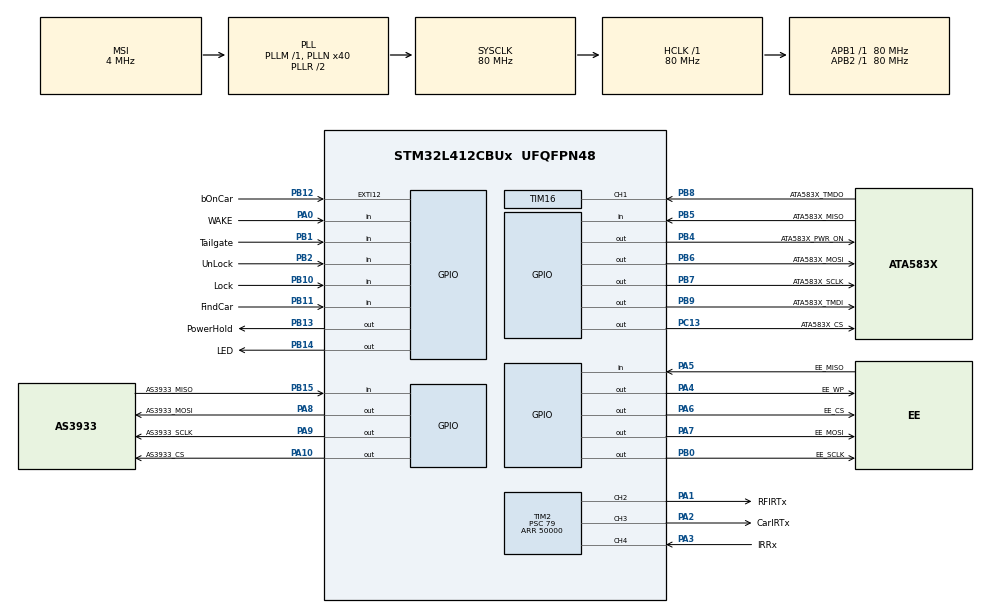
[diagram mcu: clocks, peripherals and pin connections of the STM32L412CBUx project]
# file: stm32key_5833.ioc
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Mcu.Family=STM32L4
Mcu.Name=STM32L412CBUx
Mcu.Package=UFQFPN48
NVIC.PriorityGroup=NVIC_PRIORITYGROUP_4
PA0.GPIO_Label=WAKE
PA0.Signal=GPIO_Input
PA1.GPIO_Label=RFIRTx
PA1.Signal=S_TIM2_CH2
PA10.GPIO_Label=AS3933_CS
PA10.Signal=GPIO_Output
PA13\ (JTMS/SWDIO).Mode=Serial_Wire
PA13\ (JTMS/SWDIO).Signal=SYS_JTMS-SWDIO
PA14\ (JTCK/SWCLK).Mode=Serial_Wire
PA14\ (JTCK/SWCLK).Signal=SYS_JTCK-SWCLK
PA2.GPIO_Label=CarIRTx
PA2.Signal=S_TIM2_CH3
PA3.GPIO_Label=IRRx
PA3.Signal=S_TIM2_CH4
PA4.GPIO_Label=EE_WP
PA4.PinState=GPIO_PIN_SET
PA4.Signal=GPIO_Output
PA5.GPIO_Label=EE_MISO
PA5.Signal=GPIO_Input
PA6.GPIO_Label=EE_CS
PA6.Signal=GPIO_Output
PA7.GPIO_Label=EE_MOSI
PA7.GPIO_Speed=GPIO_SPEED_FREQ_HIGH
PA7.Signal=GPIO_Output
PA8.GPIO_Label=AS3933_MOSI
PA8.GPIO_Speed=GPIO_SPEED_FREQ_HIGH
PA8.PinState=GPIO_PIN_RESET
PA8.Signal=GPIO_Output
PA9.GPIO_Label=AS3933_SCLK
PA9.GPIO_Speed=GPIO_SPEED_FREQ_HIGH
PA9.Signal=GPIO_Output
PB0.GPIO_Label=EE_SCLK
PB0.GPIO_Speed=GPIO_SPEED_FREQ_HIGH
PB0.Signal=GPIO_Output
PB1.GPIO_Label=Tailgate
PB1.Signal=GPIO_Input
PB10.GPIO_Label=Lock
PB10.Signal=GPIO_Input
PB11.GPIO_Label=FindCar
PB11.Signal=GPIO_Input
PB12.GPIO_Label=bOnCar
PB12.Signal=GPXTI12
PB13.GPIO_Label=PowerHold
PB13.Signal=GPIO_Output
PB14.GPIO_Label=LED
PB14.Signal=GPIO_Output
PB15.GPIO_Label=AS3933_MISO
PB15.Signal=GPIO_Input
PB2.GPIO_Label=UnLock
PB2.Signal=GPIO_Input
PB4\ (NJTRST).GPIO_Label=ATA583X_PWR_ON
PB4\ (NJTRST).Signal=GPIO_Output
PB5.GPIO_Label=ATA583X_MISO
PB5.Signal=GPIO_Input
PB6.GPIO_Label=ATA583X_MOSI
PB6.GPIO_Speed=GPIO_SPEED_FREQ_HIGH
PB6.Signal=GPIO_Output
PB7.GPIO_FM7=__NULL
PB7.GPIO_Label=ATA583X_SCLK
PB7.GPIO_Speed=GPIO_SPEED_FREQ_HIGH
PB7.Signal=GPIO_Output
PB8.GPIO_Label=ATA583X_TMDO
PB8.Signal=S_TIM16_CH1
PB9.GPIO_Label=ATA583X_TMDI
PB9.GPIO_Speed=GPIO_SPEED_FREQ_MEDIUM
PB9.Signal=GPIO_Output
PC13.GPIO_Label=ATA583X_CS
PC13.PinState=GPIO_PIN_SET
PC13.Signal=GPIO_Output
ProjectManager.HeapSize=0x400
ProjectManager.StackSize=0x800
ProjectManager.TargetToolchain=Other Toolchains (GPDSC)
RCC.ADCFreq_Value=80000000
RCC.AHBFreq_Value=80000000
RCC.APB1Freq_Value=80000000
RCC.APB1TimFreq_Value=80000000
RCC.APB2Freq_Value=80000000
RCC.APB2TimFreq_Value=80000000
RCC.CK48CLockSelection=RCC_USBCLKSOURCE_HSI48
RCC.CortexFreq_Value=80000000
RCC.FLatency=FLASH_LATENCY_4
RCC.HCLKFreq_Value=80000000
RCC.HSE_VALUE=8000000
RCC.HSI48_VALUE=48000000
RCC.HSICalibrationValue=16
RCC.HSI_VALUE=16000000
RCC.LSE_VALUE=32768
RCC.MSI_VALUE=4000000
RCC.PLLN=40
RCC.SYSCLKFreq_VALUE=80000000
RCC.SYSCLKSource=RCC_SYSCLKSOURCE_PLLCLK
RCC.USBFreq_Value=48000000
RCC.VCOOutputFreq_Value=160000000
SH.S_TIM16_CH1.0=TIM16_CH1,Input_Capture1_from_TI1
SH.S_TIM2_CH2.0=TIM2_CH2,PWM Generation2 CH2
SH.S_TIM2_CH3.0=TIM2_CH3,PWM Generation3 CH3
SH.S_TIM2_CH4.0=TIM2_CH4,Input_Capture4_from_TI4
TIM16.Channel=TIM_CHANNEL_1
TIM16.ICPolarity_CH1=TIM_INPUTCHANNELPOLARITY_BOTHEDGE
TIM16.Period=130
TIM16.Prescaler=79
TIM2.Channel-Input_Capture4_from_TI4=TIM_CHANNEL_4
TIM2.Channel-PWM\ Generation2\ CH2=TIM_CHANNEL_2
TIM2.Channel-PWM\ Generation3\ CH3=TIM_CHANNEL_3
TIM2.OCMode_PWM-PWM\ Generation2\ CH2=TIM_OCMODE_PWM2
TIM2.OCMode_PWM-PWM\ Generation3\ CH3=TIM_OCMODE_PWM2
TIM2.Period=50000
TIM2.Prescaler=79
TIM2.Pulse-PWM\ Generation2\ CH2=6
TIM2.Pulse-PWM\ Generation3\ CH3=20
VP_TIM16_VS_ClockSourceINT.Mode=Enable_Timer
board=custom

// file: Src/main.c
/* USER CODE BEGIN Header */
/**
  ******************************************************************************
  * @file           : main.c
  * @brief          : Main program body
  ******************************************************************************
  * @attention
  *
  * <h2><center>&copy; Copyright (c) 2019 STMicroelectronics.
  * All rights reserved.</center></h2>
  *
  * This software component is licensed by ST under Ultimate Liberty license
  * SLA0044, the "License"; You may not use this file except in compliance with
  * the License. You may obtain a copy of the License at:
  *                             www.st.com/SLA0044
  *
  ******************************************************************************
  */
/* USER CODE END Header */

#include "main.h"
#include "tim.h"
#include "gpio.h"

/* USER CODE BEGIN Includes */
#include "..\wf\ATA5833.h"
#include "..\..\..\..\WF_Device\SPIROM.h"
#include "..\..\..\..\WF_Device\SimSPI.h"
#include "..\wf\InitProc.h"
#include "..\..\wf\Variables.h"
#include "..\..\wf\AS3933.h"
/* USER CODE END Includes */

void SystemClock_Config(void);

int main(void)
{
  /* USER CODE BEGIN 1 */
	uint32_t i;
  /* USER CODE END 1 */

  /* MCU Configuration--------------------------------------------------------*/

  /* Reset of all peripherals, Initializes the Flash interface and the Systick. */
  HAL_Init();

  /* Configure the system clock */
  SystemClock_Config();

  /* Initialize all configured peripherals */
  MX_GPIO_Init();
  MX_TIM2_Init();
  MX_TIM16_Init();
  /* USER CODE BEGIN 2 */
  wfDelay_init(80);
  HAL_GPIO_WritePin(ATA583X_PWR_ON_GPIO_Port,ATA583X_PWR_ON_Pin,GPIO_PIN_SET);
  HAL_GPIO_WritePin(ATA583X_CS_GPIO_Port,ATA583X_CS_Pin,GPIO_PIN_SET);
  SimSPI_Init();
  SimSPI2_Init();
  SPIROM_Init();
  GenerateEEPSW();

  InitRenewTimes();
  InitEE();
  ATA583X_InitEEPROM();

  AS3933_Init();
  HAL_Delay(500);
  ATA583X_IDLEMode();
  ATA583X_Check();
  HAL_Delay(5);
  ATA583X_IDLEMode();
  wfDelay_ms(1);
  HAL_GPIO_WritePin(LED_GPIO_Port,LED_Pin,GPIO_PIN_RESET);
	for(i=0;i<20;i++)
		ATA583X_TxList[i]=i;
	ATA583X_TxCount=5;
	ATA583X_TxFrameProc();
// 	while(1)
// 	{
// 		ATA583X_TxFrameProc();
// 		wfDelay_ms(1000);
// 	}
  /* USER CODE END 2 */

  /* Infinite loop */
  while (1)
  {

    /* USER CODE BEGIN 3 */
	  if(bAS3933Wake())
	  {
		  ATA583X_TxFrameProc();
		  wfDelay_ms(1000);
	  }
  }
  /* USER CODE END 3 */
}

void SystemClock_Config(void)
{
  RCC_OscInitTypeDef RCC_OscInitStruct = {0};
  RCC_ClkInitTypeDef RCC_ClkInitStruct = {0};

  /** Configure the main internal regulator output voltage
  */
  if (HAL_PWREx_ControlVoltageScaling(PWR_REGULATOR_VOLTAGE_SCALE1) != HAL_OK)
  {
    Error_Handler();
  }
  /** Initializes the CPU, AHB and APB busses clocks
  */
  RCC_OscInitStruct.OscillatorType = RCC_OSCILLATORTYPE_LSI|RCC_OSCILLATORTYPE_MSI;
  RCC_OscInitStruct.LSIState = RCC_LSI_ON;
  RCC_OscInitStruct.MSIState = RCC_MSI_ON;
  RCC_OscInitStruct.MSICalibrationValue = 0;
  RCC_OscInitStruct.MSIClockRange = RCC_MSIRANGE_6;
  RCC_OscInitStruct.PLL.PLLState = RCC_PLL_ON;
  RCC_OscInitStruct.PLL.PLLSource = RCC_PLLSOURCE_MSI;
  RCC_OscInitStruct.PLL.PLLM = 1;
  RCC_OscInitStruct.PLL.PLLN = 40;
  RCC_OscInitStruct.PLL.PLLQ = RCC_PLLQ_DIV2;
  RCC_OscInitStruct.PLL.PLLR = RCC_PLLR_DIV2;
  if (HAL_RCC_OscConfig(&RCC_OscInitStruct) != HAL_OK)
  {
    Error_Handler();
  }
  /** Initializes the CPU, AHB and APB busses clocks
  */
  RCC_ClkInitStruct.ClockType = RCC_CLOCKTYPE_HCLK|RCC_CLOCKTYPE_SYSCLK
                              |RCC_CLOCKTYPE_PCLK1|RCC_CLOCKTYPE_PCLK2;
  RCC_ClkInitStruct.SYSCLKSource = RCC_SYSCLKSOURCE_PLLCLK;
  RCC_ClkInitStruct.AHBCLKDivider = RCC_SYSCLK_DIV1;
  RCC_ClkInitStruct.APB1CLKDivider = RCC_HCLK_DIV1;
  RCC_ClkInitStruct.APB2CLKDivider = RCC_HCLK_DIV1;

  if (HAL_RCC_ClockConfig(&RCC_ClkInitStruct, FLASH_LATENCY_4) != HAL_OK)
  {
    Error_Handler();
  }
}

void Error_Handler(void)
{
}

/************************ (C) COPYRIGHT STMicroelectronics *****END OF FILE****/
